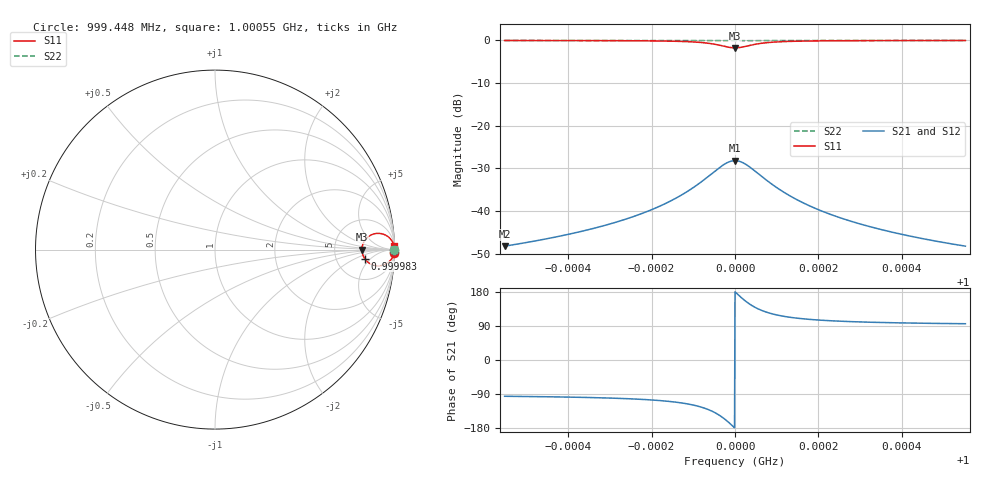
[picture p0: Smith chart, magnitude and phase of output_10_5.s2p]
! File generated for n1 = 10, n2 = 5
! b1 = 0.100000
! b2 = 0.004642
! Q0 = 10000.000000
! f0 = 1000000000.000000
! n = 1001
! rel_span = 10.000000
# Hz S RI R 50
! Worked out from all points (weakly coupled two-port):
!   1001 points, 999.448 MHz to 1.00055 GHz, reference 50 ohm
!   highest |S21| = -28.18 dB at 1 GHz (marker M1); lowest = -48.2 dB at 999.448 MHz (marker M2)
!   lowest |S11| = -1.7 dB at 1 GHz (marker M3), VSWR 10.05, Z = 502 + j0 ohm
!   |S11| at or under -10 dB: nowhere
!   |S22| runs from -0.1 to 0.0 dB; largest |S21 - S12| = 0
!   S11 on the Smith chart (normalised r, x): 999.448 MHz: open; 999.983 MHz: 10, -3; 1.00055 GHz: open
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9.994477e8  0.9982 -0.0179  -0.000386 -0.00386  -0.000386 -0.00386  0.9999 -0.000832
9.995427e8  0.9974 -0.0215  -0.000561 -0.00464  -0.000561 -0.00464  0.9999 -0.001
9.996322e8  0.996 -0.0266  -0.00086 -0.00573  -0.00086 -0.00573  0.9998 -0.00123
9.997338e8  0.9925 -0.036  -0.00161 -0.00776  -0.00161 -0.00776  0.9997 -0.00167
9.998166e8  0.9849 -0.05  -0.00324 -0.0108  -0.00324 -0.0108  0.9993 -0.00232
9.998697e8  0.9724 -0.065  -0.00594 -0.014  -0.00594 -0.014  0.9987 -0.00302
9.99916e8  0.9453 -0.0831  -0.0118 -0.0179  -0.0118 -0.0179  0.9975 -0.00386
9.999569e8  0.8874 -0.0878  -0.0243 -0.0189  -0.0243 -0.0189  0.9948 -0.00408
9.999702e8  0.8598 -0.0757  -0.0302 -0.0163  -0.0302 -0.0163  0.9935 -0.00351
9.999834e8  0.8339 -0.0498  -0.0358 -0.0107  -0.0358 -0.0107  0.9923 -0.00231
1e9  0.8189 0  -0.039 0  -0.039 0  0.9916 0
1.00001e9  0.8246 0.0316  -0.0378 0.0068  -0.0378 0.0068  0.9919 0.00147
1.000021e9  0.8418 0.0601  -0.0341 0.013  -0.0341 0.013  0.9927 0.00279
1.000049e9  0.898 0.0898  -0.022 0.0193  -0.022 0.0193  0.9953 0.00417
1.000078e9  0.94 0.0852  -0.0129 0.0184  -0.0129 0.0184  0.9972 0.00396
1.000115e9  0.966 0.0707  -0.00732 0.0152  -0.00732 0.0152  0.9984 0.00328
1.000148e9  0.9779 0.0593  -0.00477 0.0128  -0.00477 0.0128  0.999 0.00275
1.000184e9  0.9851 0.0498  -0.00321 0.0107  -0.00321 0.0107  0.9993 0.00231
1.000267e9  0.9926 0.0359  -0.0016 0.00773  -0.0016 0.00773  0.9997 0.00167
1.000369e9  0.996 0.0265  -0.000855 0.00571  -0.000855 0.00571  0.9998 0.00123
1.000458e9  0.9974 0.0215  -0.000558 0.00463  -0.000558 0.00463  0.9999 0.000998
1.000552e9  0.9982 0.0179  -0.000386 0.00386  -0.000386 0.00386  0.9999 0.000832
